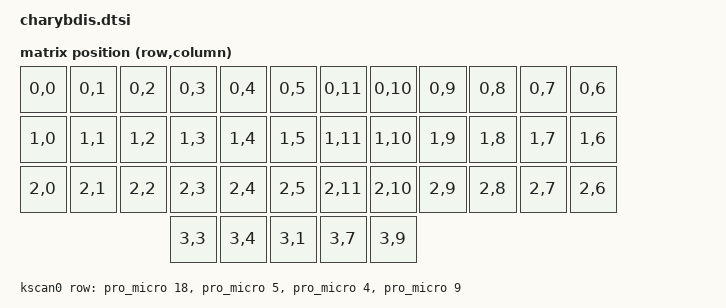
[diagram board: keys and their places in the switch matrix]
#include <dt-bindings/zmk/matrix_transform.h>
// #include <dt-bindings/input/input-event-codes.h>

// #define INPUT_EV_KEY 0x01               /**< Key event */
// #define INPUT_EV_REL 0x02               /**< Relative coordinate event */
// #define INPUT_EV_ABS 0x03               /**< Absolute coordinate event */
// #define INPUT_EV_MSC 0x04               /**< Miscellaneous event */
// #define INPUT_EV_VENDOR_START 0xf0      /**< Vendor specific event start */
// #define INPUT_EV_VENDOR_STOP 0xff       /**< Vendor specific event stop */

// #define INPUT_REL_X 0x00                /**< Relative X coordinate */
// #define INPUT_REL_Y 0x01                /**< Relative Y coordinate */
// #define INPUT_REL_WHEEL 0x08            /**< Relative wheel coordinate */
// #define INPUT_REL_HWHEEL 0x06           /**< Relative horizontal wheel coordinate */
// #define INPUT_REL_MISC 0x09             /**< Relative misc coordinate */

// &pinctrl {
//     spi0_default: spi0_default {
//         group1 {
//             psels = <NRF_PSEL(SPIM_SCK, 0, 8)>,
//                 <NRF_PSEL(SPIM_MOSI, 0, 17)>,
//                 <NRF_PSEL(SPIM_MISO, 0, 17)>;
//         };
//     };

//     spi0_sleep: spi0_sleep {
//         group1 {
//             psels = <NRF_PSEL(SPIM_SCK, 0, 8)>,
//                 <NRF_PSEL(SPIM_MOSI, 0, 17)>,
//                 <NRF_PSEL(SPIM_MISO, 0, 17)>;
//             low-power-enable;
//         };
//     };
// };

// &spi0 {
//     compatible = "nordic,nrf-spim";
//     status = "disabled";
//     pinctrl-0 = <&spi0_default>;
//     pinctrl-1 = <&spi0_sleep>;
//     pinctrl-names = "default", "sleep";
//     cs-gpios = <&gpio0 20 GPIO_ACTIVE_LOW>;

//     trackball: trackball@0 {
//         compatible = "pixart,pmw3610";
//         status = "disabled";
//         reg = <0>;
//         spi-max-frequency = <2000000>;
//         irq-gpios = <&gpio0 6 (GPIO_ACTIVE_LOW | GPIO_PULL_UP)>;
//         cpi = <600>;
//         evt-type = <INPUT_EV_REL>;
//         x-input-code = <INPUT_REL_X>;
//         y-input-code = <INPUT_REL_Y>;

//         force-awake;
//         /* keep the sensor awake while ZMK activity state is ACTIVE,
//            fallback to normal downshift mode after ZMK goes into IDLE / SLEEP mode.
//            thus, the sensor would be a `wakeup-source` */
//     };
// };

/ {
    chosen {
        zmk,kscan = &kscan0;
        zmk,matrix_transform = &five_column_transform;
        // zmk,physical-layout = &physical_layout0;
    }; 

    vbatt: vbatt {
	    compatible = "zmk,battery-nrf-vddh";
    };

    // physical_layout0: physical_layout_0 { // First physical layout, use different naming for other layouts
    //     compatible = "zmk,physical-layout";
    //     display-name = "Default Layout";
    //     kscan = <&kscan0>; // Label of the kscan node, optional if all layouts use the same
    //     transform = <&default_transform>; // Label of the matrix transform for this layout
    // };
          
    default_transform: keymap_transform_0 {
        compatible = "zmk,matrix-transform";
        columns = <12>;
        rows = <4>;

        map = <
	RC(0,0) RC(0,1) RC(0,2) RC(0,3) RC(0,4) RC(0,5)  RC(0,11) RC(0,10) RC(0,9) RC(0,8) RC(0,7) RC(0,6)
	RC(1,0) RC(1,1) RC(1,2) RC(1,3) RC(1,4) RC(1,5)  RC(1,11) RC(1,10) RC(1,9) RC(1,8) RC(1,7) RC(1,6)
	RC(2,0) RC(2,1) RC(2,2) RC(2,3) RC(2,4) RC(2,5)  RC(2,11) RC(2,10) RC(2,9) RC(2,8) RC(2,7) RC(2,6)
							RC(3,3) RC(3,4) RC(3,1)  RC(3,7)  RC(3,9)
        >;
    };

    // default_transform: keymap_transform_0 {
    //     compatible = "zmk,matrix-transform";
    //     columns = <10>;
    //     rows = <4>;

    //     map = <
	// RC(0,1) RC(0,2) RC(0,3) RC(0,4) RC(0,5)  RC(0,10) RC(0,9) RC(0,8) RC(0,7) RC(0,6)
	// RC(1,1) RC(1,2) RC(1,3) RC(1,4) RC(1,5)  RC(1,10) RC(1,9) RC(1,8) RC(1,7) RC(1,6)
	// RC(2,1) RC(2,2) RC(2,3) RC(2,4) RC(2,5)  RC(2,10) RC(2,9) RC(2,8) RC(2,7) RC(2,6)
	// 				RC(3,3) RC(3,4) RC(3,1)  RC(3,6)  RC(3,8)
    //     >;
    // };
	
    kscan0: kscan {
        compatible = "zmk,kscan-gpio-matrix";
        diode-direction = "row2col";
        wakeup-source;

        row-gpios
            = <&pro_micro 18 GPIO_ACTIVE_HIGH>
            , <&pro_micro 5 GPIO_ACTIVE_HIGH>
            , <&pro_micro 4 GPIO_ACTIVE_HIGH>
            , <&pro_micro 9 GPIO_ACTIVE_HIGH>
            ;
    };

    // trackball_listener: trackball_listener {
    //     compatible = "zmk,input-listener";
    //     status = "disabled";
    // };
};
